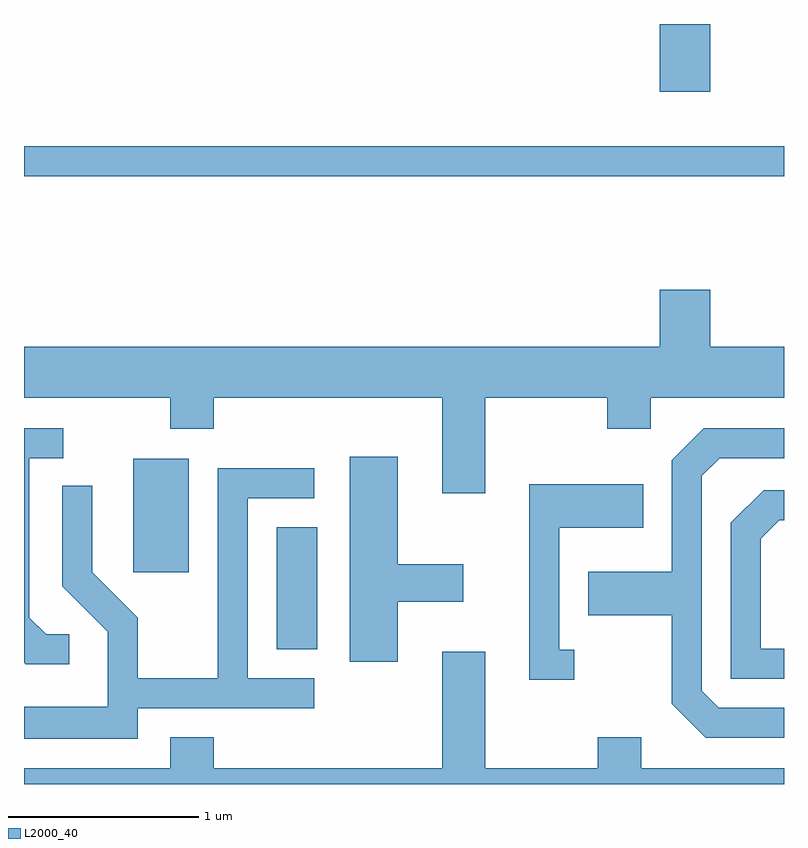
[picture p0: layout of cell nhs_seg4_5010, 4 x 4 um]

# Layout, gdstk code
import gdstk
lib = gdstk.Library(unit=1e-6, precision=1e-09)
def R(c, l, rs):  # rectangles x0, y0, x1, y1
    for r in rs: c.add(gdstk.rectangle(r[:2], r[2:], *l))
def P(c, l, *ps):  # polygons
    for p in ps: c.add(gdstk.Polygon(p, *l))
L2000_40 = (2000, 40)

nhs_seg4_5010 = lib.new_cell('nhs_seg4_5010')
R(nhs_seg4_5010, L2000_40, [(332.941,1346.691,333.154,1347.334), (332.186,1347.096,332.479,1347.694), (331.611,1349.181,335.611,1349.339), (334.956,1349.626,335.224,1349.982)])
P(nhs_seg4_5010, L2000_40, [(334.039,1348.016),(334.681,1348.016),(334.681,1347.851),(334.909,1347.851),(334.909,1348.016),(335.611,1348.016),(335.611,1348.284),(335.224,1348.284),(335.224,1348.584),(334.956,1348.584),(334.956,1348.284),(331.611,1348.284),(331.611,1348.016),(332.381,1348.016),(332.381,1347.851),(332.609,1347.851),(332.609,1348.016),(333.811,1348.016),(333.811,1347.511),(334.039,1347.511)],
  [(331.848,1346.769),(331.727,1346.769),(331.639,1346.857),(331.639,1347.696),(331.818,1347.696),(331.818,1347.854),(331.611,1347.854),(331.611,1346.619),(331.619,1346.611),(331.848,1346.611)],
  [(335.611,1346.384),(335.267,1346.384),(335.179,1346.472),(335.179,1347.604),(335.272,1347.696),(335.611,1347.696),(335.611,1347.854),(335.189,1347.854),(335.021,1347.687),(335.021,1347.099),(334.581,1347.099),(334.581,1346.871),(335.021,1346.871),(335.021,1346.404),(335.199,1346.226),(335.611,1346.226)],
  [(333.579,1346.941),(333.924,1346.941),(333.924,1347.139),(333.579,1347.139),(333.579,1347.704),(333.326,1347.704),(333.326,1346.626),(333.579,1346.626)],
  [(332.209,1346.381),(333.138,1346.381),(333.138,1346.539),(332.789,1346.539),(332.789,1347.486),(333.138,1347.486),(333.138,1347.644),(332.631,1347.644),(332.631,1346.539),(332.209,1346.539),(332.209,1346.857),(331.969,1347.097),(331.969,1347.553),(331.811,1347.553),(331.811,1347.024),(332.051,1346.784),(332.051,1346.389),(331.611,1346.389),(331.611,1346.221),(332.209,1346.221)],
  [(334.508,1346.689),(334.429,1346.689),(334.429,1347.331),(334.869,1347.331),(334.869,1347.559),(334.271,1347.559),(334.271,1346.531),(334.508,1346.531)],
  [(335.611,1346.694),(335.489,1346.694),(335.489,1347.274),(335.587,1347.371),(335.611,1347.371),(335.611,1347.529),(335.504,1347.529),(335.331,1347.357),(335.331,1346.536),(335.611,1346.536)],
  [(335.611,1346.064),(334.859,1346.064),(334.859,1346.229),(334.631,1346.229),(334.631,1346.064),(334.039,1346.064),(334.039,1346.679),(333.811,1346.679),(333.811,1346.064),(332.609,1346.064),(332.609,1346.229),(332.381,1346.229),(332.381,1346.064),(331.611,1346.064),(331.611,1345.982),(335.611,1345.982)])

lib.write_gds('nhs_seg4_5010.gds')
